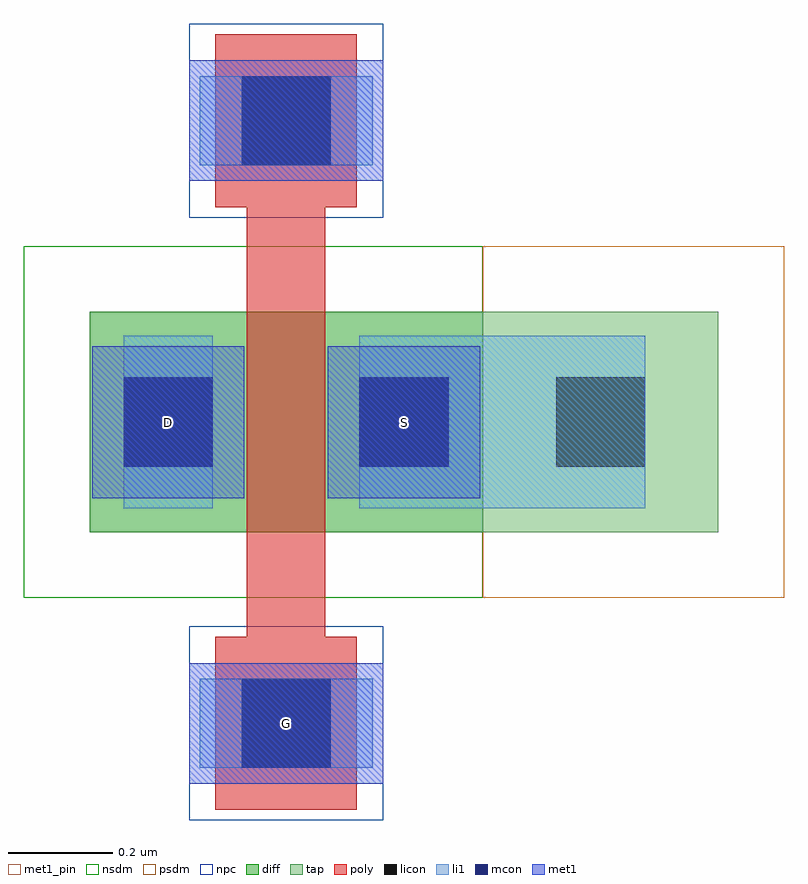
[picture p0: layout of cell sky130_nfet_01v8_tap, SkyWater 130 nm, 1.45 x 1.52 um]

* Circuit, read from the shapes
.subckt sky130_nfet_01v8_tap D G S
XM1 S G D S sky130_fd_pr__nfet_01v8 w=0.42 l=0.15
.ends

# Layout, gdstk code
import gdstk
lib = gdstk.Library(unit=1e-6, precision=1e-09)
def R(c, l, rs):  # rectangles x0, y0, x1, y1
    for r in rs: c.add(gdstk.rectangle(r[:2], r[2:], *l))
diff = (65, 20)
tap = (65, 44)
poly = (66, 20)
licon = (66, 44)
li1 = (67, 20)
mcon = (67, 44)
met1_pin = (68, 16)
met1 = (68, 20)
nsdm = (93, 44)
psdm = (94, 20)
npc = (95, 20)

nfet = lib.new_cell('nfet')
R(nfet, diff, [(0,0,0.75,0.42)])
R(nfet, tap, [(0.75,0,1.2,0.42)])
R(nfet, poly, [(0.24,-0.53,0.51,-0.2), (0.3,-0.2,0.45,0.62), (0.24,0.62,0.51,0.95)])
R(nfet, licon, [(0.29,-0.45,0.46,-0.28), (0.065,0.125,0.235,0.295), (0.515,0.125,0.685,0.295), (0.89,0.125,1.06,0.295), (0.29,0.7,0.46,0.87)])
R(nfet, li1, [(0.21,-0.45,0.54,-0.28), (0.065,0.045,0.235,0.375), (0.515,0.045,0.685,0.375), (0.89,0.045,1.06,0.375), (0.21,0.7,0.54,0.87)])
R(nfet, mcon, [(0.29,-0.45,0.46,-0.28), (0.065,0.125,0.235,0.295), (0.515,0.125,0.685,0.295), (0.29,0.7,0.46,0.87)])
R(nfet, met1, [(0.19,-0.48,0.56,-0.25), (0.005,0.065,0.295,0.355), (0.455,0.065,0.745,0.355), (0.19,0.67,0.56,0.9)])
R(nfet, nsdm, [(-0.125,-0.125,0.75,0.545)])
R(nfet, psdm, [(0.75,-0.125,1.325,0.545)])
R(nfet, npc, [(0.23,-0.54,0.52,-0.19), (0.23,0.61,0.52,0.96)])

sky130_nfet_01v8_tap = lib.new_cell('sky130_nfet_01v8_tap')
R(sky130_nfet_01v8_tap, li1, [(0.685,0.045,0.89,0.375)])
R(sky130_nfet_01v8_tap, met1_pin, [(0.29,-0.45,0.46,-0.28), (0.065,0.125,0.235,0.295), (0.515,0.125,0.685,0.295)])
R(sky130_nfet_01v8_tap, npc, [(0.19,-0.55,0.56,-0.18), (0.19,0.6,0.56,0.97)])
sky130_nfet_01v8_tap.add(gdstk.Reference(nfet, (0,0)))
sky130_nfet_01v8_tap.add(gdstk.Label('D', (0.15,0.21), layer=68, texttype=5))
sky130_nfet_01v8_tap.add(gdstk.Label('S', (0.6,0.21), layer=68, texttype=5))
sky130_nfet_01v8_tap.add(gdstk.Label('G', (0.375,-0.365), layer=68, texttype=5))

lib.write_gds('sky130_nfet_01v8_tap.gds')
